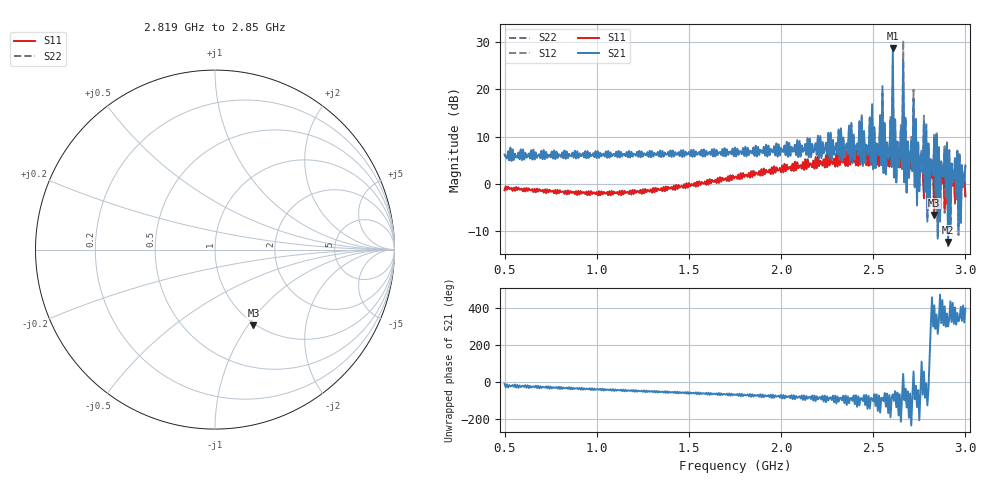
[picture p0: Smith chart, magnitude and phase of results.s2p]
! rfsim (KiCad + openEMS)
# HZ S RI R 50
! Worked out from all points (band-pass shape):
!   401 points, 500 MHz to 3 GHz, reference 50 ohm
!   highest |S21| = 28.71 dB at 2.606 GHz (marker M1); lowest = -12.2 dB at 2.906 GHz (marker M2)
!   |S21| within 3 dB of the highest: 2.605504 GHz to 2.606936 GHz (1.432 MHz wide, 0.055 % of centre); 2.662345 GHz to 2.662639 GHz (294.1 kHz wide, 0.011 % of centre)
!   lowest |S11| = -6.5 dB at 2.831 GHz (marker M3), VSWR 2.80, Z = 48.7 - j53.1 ohm
!   |S11| at or under -10 dB: nowhere
!   |S22| runs from -6.8 to 20.2 dB; largest |S21 - S12| = 16
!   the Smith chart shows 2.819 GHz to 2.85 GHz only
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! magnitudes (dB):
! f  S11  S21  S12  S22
! 500 MHz  -1.3  6.2  6.1  -1.2
! 918.8 MHz  -2.0  6.0  6.0  -1.9
! 1.337 GHz  -1.2  5.8  5.8  -1.2
! 1.75 GHz  1.5  7.7  7.7  1.5
! 2.169 GHz  3.6  8.5  8.4  3.6
! 2.513 GHz  5.2  3.4  3.8  5.3
! 2.55 GHz  13.0  20.7  19.2  11.8
! 2.587 GHz  3.7  6.0  6.0  3.8
! 2.606 GHz  19.8  28.7  25.2  16.8
! 2.625 GHz  4.5  0.3  1.0  4.7
! 2.663 GHz  15.6  26.3  30.3  20.2
! 2.681 GHz  4.1  -1.8  -1.1  4.2
! 2.719 GHz  4.8  17.9  19.9  7.5
! 2.737 GHz  3.5  -4.5  -3.6  3.7
! 2.806 GHz  2.7  -4.7  -3.5  2.8
! 2.831 GHz  -6.5  9.8  10.7  -6.8
! 2.85 GHz  2.5  -11.5  -10.9  2.6
! 2.888 GHz  -5.2  7.3  8.0  -6.1
! 2.906 GHz  2.1  -12.2  -13.1  2.2
! 2.944 GHz  -3.6  5.3  5.8  -4.2
! 2.975 GHz  1.0  -8.2  -8.4  1.0
! 3 GHz  -2.5  3.8  4.2  -2.8
